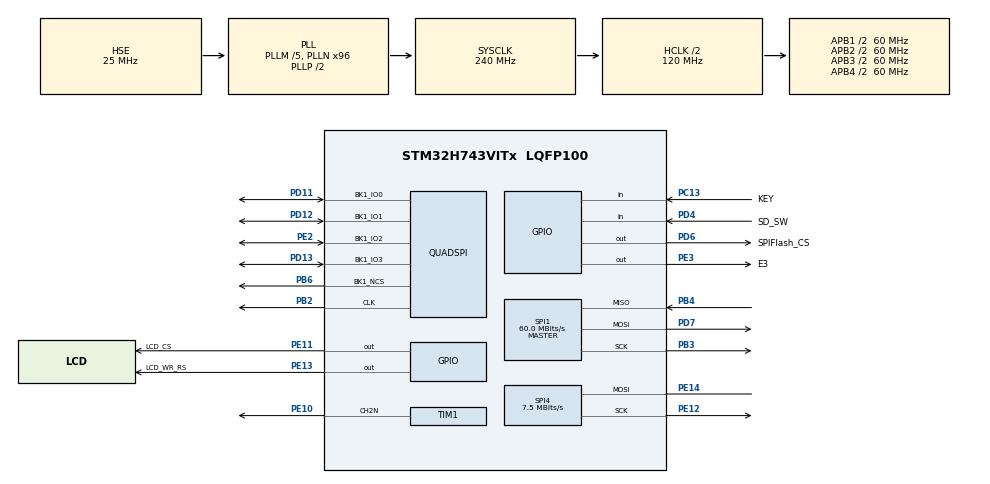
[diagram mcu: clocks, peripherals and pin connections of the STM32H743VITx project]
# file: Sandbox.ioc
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Dma.Request0=SPI4_TX
Dma.Request1=SPI4_RX
Dma.SPI4_RX.1.Direction=DMA_PERIPH_TO_MEMORY
Dma.SPI4_RX.1.EventEnable=DISABLE
Dma.SPI4_RX.1.FIFOMode=DMA_FIFOMODE_DISABLE
Dma.SPI4_RX.1.Instance=DMA1_Stream1
Dma.SPI4_RX.1.MemDataAlignment=DMA_MDATAALIGN_BYTE
Dma.SPI4_RX.1.MemInc=DMA_MINC_ENABLE
Dma.SPI4_RX.1.Mode=DMA_NORMAL
Dma.SPI4_RX.1.PeriphDataAlignment=DMA_PDATAALIGN_BYTE
Dma.SPI4_RX.1.PeriphInc=DMA_PINC_DISABLE
Dma.SPI4_RX.1.Polarity=HAL_DMAMUX_REQ_GEN_RISING
Dma.SPI4_RX.1.Priority=DMA_PRIORITY_LOW
Dma.SPI4_RX.1.RequestNumber=1
Dma.SPI4_RX.1.SignalID=NONE
Dma.SPI4_RX.1.SyncEnable=DISABLE
Dma.SPI4_RX.1.SyncPolarity=HAL_DMAMUX_SYNC_NO_EVENT
Dma.SPI4_RX.1.SyncRequestNumber=1
Dma.SPI4_RX.1.SyncSignalID=NONE
Dma.SPI4_TX.0.Direction=DMA_MEMORY_TO_PERIPH
Dma.SPI4_TX.0.EventEnable=DISABLE
Dma.SPI4_TX.0.FIFOMode=DMA_FIFOMODE_DISABLE
Dma.SPI4_TX.0.Instance=DMA1_Stream0
Dma.SPI4_TX.0.MemDataAlignment=DMA_MDATAALIGN_BYTE
Dma.SPI4_TX.0.MemInc=DMA_MINC_ENABLE
Dma.SPI4_TX.0.Mode=DMA_NORMAL
Dma.SPI4_TX.0.PeriphDataAlignment=DMA_PDATAALIGN_BYTE
Dma.SPI4_TX.0.PeriphInc=DMA_PINC_DISABLE
Dma.SPI4_TX.0.Polarity=HAL_DMAMUX_REQ_GEN_RISING
Dma.SPI4_TX.0.Priority=DMA_PRIORITY_MEDIUM
Dma.SPI4_TX.0.RequestNumber=1
Dma.SPI4_TX.0.SignalID=NONE
Dma.SPI4_TX.0.SyncEnable=DISABLE
Dma.SPI4_TX.0.SyncPolarity=HAL_DMAMUX_SYNC_NO_EVENT
Dma.SPI4_TX.0.SyncRequestNumber=1
Dma.SPI4_TX.0.SyncSignalID=NONE
FATFS._MAX_SS=4096
FATFS._MIN_SS=4096
FATFS._USE_MUTEX=1
FREERTOS.INCLUDE_vTaskCleanUpResources=1
FREERTOS.Tasks01=defaultTask,24,128,StartDefaultTask,Default,NULL,Dynamic,NULL,NULL
FREERTOS.configCHECK_FOR_STACK_OVERFLOW=2
FREERTOS.configENABLE_FPU=1
FREERTOS.configGENERATE_RUN_TIME_STATS=1
FREERTOS.configRECORD_STACK_HIGH_ADDRESS=1
FREERTOS.configTOTAL_HEAP_SIZE=0x10000
FREERTOS.configUSE_NEWLIB_REENTRANT=1
FREERTOS.configUSE_STATS_FORMATTING_FUNCTIONS=1
Mcu.Family=STM32H7
Mcu.Name=STM32H743VITx
Mcu.Package=LQFP100
Mdma.MDMA_Channel0.QUADSPI_TC.0.BlockCount=0
Mdma.MDMA_Channel0.QUADSPI_TC.0.BlockDataLength=0
Mdma.MDMA_Channel0.QUADSPI_TC.0.BufferTransferLength=1
Mdma.MDMA_Channel0.QUADSPI_TC.0.CircularMode=MDMA_LINEAR_LIST
Mdma.MDMA_Channel0.QUADSPI_TC.0.DataAlignment=MDMA_DATAALIGN_PACKENABLE
Mdma.MDMA_Channel0.QUADSPI_TC.0.DestBlockAddressOffset=0
Mdma.MDMA_Channel0.QUADSPI_TC.0.DestBurst=MDMA_DEST_BURST_SINGLE
Mdma.MDMA_Channel0.QUADSPI_TC.0.DestDataSize=MDMA_DEST_DATASIZE_BYTE
Mdma.MDMA_Channel0.QUADSPI_TC.0.DestinationInc=MDMA_DEST_INC_BYTE
Mdma.MDMA_Channel0.QUADSPI_TC.0.DstAddress=0
Mdma.MDMA_Channel0.QUADSPI_TC.0.Endianness=MDMA_LITTLE_ENDIANNESS_PRESERVE
Mdma.MDMA_Channel0.QUADSPI_TC.0.Instance=MDMA_Channel0
Mdma.MDMA_Channel0.QUADSPI_TC.0.MaskAddress=0
Mdma.MDMA_Channel0.QUADSPI_TC.0.MaskData=0
Mdma.MDMA_Channel0.QUADSPI_TC.0.Priority=MDMA_PRIORITY_LOW
Mdma.MDMA_Channel0.QUADSPI_TC.0.Rank=First
Mdma.MDMA_Channel0.QUADSPI_TC.0.SourceBlockAddressOffset=0
Mdma.MDMA_Channel0.QUADSPI_TC.0.SourceBurst=MDMA_SOURCE_BURST_SINGLE
Mdma.MDMA_Channel0.QUADSPI_TC.0.SourceDataSize=MDMA_SRC_DATASIZE_BYTE
Mdma.MDMA_Channel0.QUADSPI_TC.0.SourceInc=MDMA_SRC_INC_BYTE
Mdma.MDMA_Channel0.QUADSPI_TC.0.SrcAddress=0
Mdma.MDMA_Channel0.QUADSPI_TC.0.TransferTriggerMode=MDMA_BUFFER_TRANSFER
Mdma.MDMA_Channel0.Request0=QUADSPI_TC
Mdma.MDMA_Channel0.RequestsNb=1
Mdma.MDMA_Channel1.QUADSPI_FIFO_TH.0.BlockCount=0
Mdma.MDMA_Channel1.QUADSPI_FIFO_TH.0.BlockDataLength=0
Mdma.MDMA_Channel1.QUADSPI_FIFO_TH.0.BufferTransferLength=1
Mdma.MDMA_Channel1.QUADSPI_FIFO_TH.0.CircularMode=MDMA_LINEAR_LIST
Mdma.MDMA_Channel1.QUADSPI_FIFO_TH.0.DataAlignment=MDMA_DATAALIGN_PACKENABLE
Mdma.MDMA_Channel1.QUADSPI_FIFO_TH.0.DestBlockAddressOffset=0
Mdma.MDMA_Channel1.QUADSPI_FIFO_TH.0.DestBurst=MDMA_DEST_BURST_SINGLE
Mdma.MDMA_Channel1.QUADSPI_FIFO_TH.0.DestDataSize=MDMA_DEST_DATASIZE_BYTE
Mdma.MDMA_Channel1.QUADSPI_FIFO_TH.0.DestinationInc=MDMA_DEST_INC_DISABLE
Mdma.MDMA_Channel1.QUADSPI_FIFO_TH.0.DstAddress=0
Mdma.MDMA_Channel1.QUADSPI_FIFO_TH.0.Endianness=MDMA_LITTLE_ENDIANNESS_PRESERVE
Mdma.MDMA_Channel1.QUADSPI_FIFO_TH.0.Instance=MDMA_Channel1
Mdma.MDMA_Channel1.QUADSPI_FIFO_TH.0.MaskAddress=0
Mdma.MDMA_Channel1.QUADSPI_FIFO_TH.0.MaskData=0
Mdma.MDMA_Channel1.QUADSPI_FIFO_TH.0.Priority=MDMA_PRIORITY_LOW
Mdma.MDMA_Channel1.QUADSPI_FIFO_TH.0.Rank=First
Mdma.MDMA_Channel1.QUADSPI_FIFO_TH.0.SourceBlockAddressOffset=0
Mdma.MDMA_Channel1.QUADSPI_FIFO_TH.0.SourceBurst=MDMA_SOURCE_BURST_SINGLE
Mdma.MDMA_Channel1.QUADSPI_FIFO_TH.0.SourceDataSize=MDMA_SRC_DATASIZE_BYTE
Mdma.MDMA_Channel1.QUADSPI_FIFO_TH.0.SourceInc=MDMA_SRC_INC_BYTE
Mdma.MDMA_Channel1.QUADSPI_FIFO_TH.0.SrcAddress=0
Mdma.MDMA_Channel1.QUADSPI_FIFO_TH.0.TransferTriggerMode=MDMA_BUFFER_TRANSFER
Mdma.MDMA_Channel1.Request0=QUADSPI_FIFO_TH
Mdma.MDMA_Channel1.RequestsNb=1
Mdma.RequestSet0=MDMA_Channel0
Mdma.RequestSet1=MDMA_Channel1
Mdma.RequestSetsNb=2
NVIC.DMA1_Stream0_IRQn=true\:5\:0\:false\:false\:true\:true\:false\:true\:true
NVIC.DMA1_Stream1_IRQn=true\:5\:0\:false\:false\:true\:true\:false\:true\:true
NVIC.MDMA_IRQn=true\:5\:0\:false\:false\:true\:true\:false\:true\:true
NVIC.PriorityGroup=NVIC_PRIORITYGROUP_4
NVIC.QUADSPI_IRQn=true\:5\:0\:false\:false\:true\:true\:true\:true\:true
NVIC.SPI4_IRQn=true\:5\:0\:false\:false\:true\:true\:false\:true\:true
PA13\ (JTMS/SWDIO).Mode=Serial_Wire
PA13\ (JTMS/SWDIO).Signal=DEBUG_JTMS-SWDIO
PA14\ (JTCK/SWCLK).Mode=Serial_Wire
PA14\ (JTCK/SWCLK).Signal=DEBUG_JTCK-SWCLK
PB2.GPIO_Speed=GPIO_SPEED_FREQ_VERY_HIGH
PB2.Mode=Single Bank 1
PB2.Signal=QUADSPI_CLK
PB3\ (JTDO/TRACESWO).GPIO_Speed=GPIO_SPEED_FREQ_HIGH
PB3\ (JTDO/TRACESWO).Mode=Full_Duplex_Master
PB3\ (JTDO/TRACESWO).Signal=SPI1_SCK
PB4\ (NJTRST).GPIO_Speed=GPIO_SPEED_FREQ_HIGH
PB4\ (NJTRST).Mode=Full_Duplex_Master
PB4\ (NJTRST).Signal=SPI1_MISO
PB6.GPIO_Speed=GPIO_SPEED_FREQ_VERY_HIGH
PB6.Mode=Single Bank 1
PB6.Signal=QUADSPI_BK1_NCS
PC13.GPIO_Label=KEY
PC13.GPIO_PuPd=GPIO_PULLDOWN
PC13.Signal=GPIO_Input
PC14-OSC32_IN\ (OSC32_IN).Mode=LSE-External-Oscillator
PC14-OSC32_IN\ (OSC32_IN).Signal=RCC_OSC32_IN
PC15-OSC32_OUT\ (OSC32_OUT).Mode=LSE-External-Oscillator
PC15-OSC32_OUT\ (OSC32_OUT).Signal=RCC_OSC32_OUT
PD11.GPIO_Speed=GPIO_SPEED_FREQ_VERY_HIGH
PD11.Mode=Single Bank 1
PD11.Signal=QUADSPI_BK1_IO0
PD12.GPIO_Speed=GPIO_SPEED_FREQ_VERY_HIGH
PD12.Mode=Single Bank 1
PD12.Signal=QUADSPI_BK1_IO1
PD13.GPIO_Speed=GPIO_SPEED_FREQ_VERY_HIGH
PD13.Mode=Single Bank 1
PD13.Signal=QUADSPI_BK1_IO3
PD4.GPIO_Label=SD_SW
PD4.GPIO_PuPd=GPIO_PULLUP
PD4.Signal=GPIO_Input
PD6.GPIO_Label=SPIFlash_CS
PD6.GPIO_Speed=GPIO_SPEED_FREQ_VERY_HIGH
PD6.PinState=GPIO_PIN_SET
PD6.Signal=GPIO_Output
PD7.GPIO_Speed=GPIO_SPEED_FREQ_HIGH
PD7.Mode=Full_Duplex_Master
PD7.Signal=SPI1_MOSI
PE10.Mode=PWM Generation2 CH2N
PE10.Signal=TIM1_CH2N
PE11.GPIO_Label=LCD_CS
PE11.GPIO_Speed=GPIO_SPEED_FREQ_VERY_HIGH
PE11.PinState=GPIO_PIN_SET
PE11.Signal=GPIO_Output
PE12.GPIO_Speed=GPIO_SPEED_FREQ_HIGH
PE12.Mode=Simplex_Bidirectional_Master
PE12.Signal=SPI4_SCK
PE13.GPIO_Label=LCD_WR_RS
PE13.GPIO_Speed=GPIO_SPEED_FREQ_VERY_HIGH
PE13.PinState=GPIO_PIN_SET
PE13.Signal=GPIO_Output
PE14.GPIO_Speed=GPIO_SPEED_FREQ_HIGH
PE14.Mode=Simplex_Bidirectional_Master
PE14.Signal=SPI4_MOSI
PE2.GPIO_Speed=GPIO_SPEED_FREQ_VERY_HIGH
PE2.Mode=Single Bank 1
PE2.Signal=QUADSPI_BK1_IO2
PE3.GPIO_Label=E3
PE3.PinState=GPIO_PIN_RESET
PE3.Signal=GPIO_Output
PH0-OSC_IN\ (PH0).Mode=HSE-External-Oscillator
PH0-OSC_IN\ (PH0).Signal=RCC_OSC_IN
PH1-OSC_OUT\ (PH1).Mode=HSE-External-Oscillator
PH1-OSC_OUT\ (PH1).Signal=RCC_OSC_OUT
ProjectManager.HeapSize=0x400
ProjectManager.StackSize=0x400
ProjectManager.TargetToolchain=Makefile
QUADSPI.ChipSelectHighTime=QSPI_CS_HIGH_TIME_3_CYCLE
QUADSPI.ClockMode=QSPI_CLOCK_MODE_3
QUADSPI.ClockPrescaler=2
QUADSPI.FifoThreshold=1
QUADSPI.FlashSize=24
QUADSPI.SampleShifting=QSPI_SAMPLE_SHIFTING_HALFCYCLE
RCC.ADCFreq_Value=50390625
RCC.APB1Freq_Value=60000000
RCC.APB2Freq_Value=60000000
RCC.APB3Freq_Value=60000000
RCC.APB4Freq_Value=60000000
RCC.CortexFreq_Value=240000000
RCC.D1PPRE=RCC_APB3_DIV2
RCC.D2PPRE1=RCC_APB1_DIV2
RCC.D2PPRE2=RCC_APB2_DIV2
RCC.D3PPRE=RCC_APB4_DIV2
RCC.DIVM1=5
RCC.DIVM3=10
RCC.DIVN1=96
RCC.DIVN3=96
RCC.DIVP3=5
RCC.DIVQ1=4
RCC.DIVQ2=1
RCC.DIVQ3=5
RCC.HCLKFreq_Value=120000000
RCC.HPRE=RCC_HCLK_DIV2
RCC.HSE_VALUE=25000000
RCC.PLL2FRACN=0
RCC.PLL3FRACN=0
RCC.PLLFRACN=0
RCC.PLLSourceVirtual=RCC_PLLSOURCE_HSE
RCC.PWR_Regulator_Voltage_Scale=PWR_REGULATOR_VOLTAGE_SCALE0
RCC.RTCClockSelection=RCC_RTCCLKSOURCE_LSE
RCC.SYSCLKFreq_VALUE=240000000
RCC.SYSCLKSource=RCC_SYSCLKSOURCE_PLLCLK
RCC.USBFreq_Value=120000000
RTC.Hours=12
RTC.Month=RTC_MONTH_JUNE
RTC.Year=20
SPI1.BaudRatePrescaler=SPI_BAUDRATEPRESCALER_2
SPI1.CalculateBaudRate=60.0 MBits/s
SPI1.DataSize=SPI_DATASIZE_8BIT
SPI1.Direction=SPI_DIRECTION_2LINES
SPI1.Mode=SPI_MODE_MASTER
SPI1.VirtualType=VM_MASTER
SPI4.BaudRatePrescaler=SPI_BAUDRATEPRESCALER_8
SPI4.CalculateBaudRate=7.5 MBits/s
SPI4.DataSize=SPI_DATASIZE_8BIT
SPI4.Direction=SPI_DIRECTION_1LINE
SPI4.Mode=SPI_MODE_MASTER
SPI4.VirtualType=VM_MASTER
TIM1.Channel-PWM\ Generation2\ CH2N=TIM_CHANNEL_2
TIM1.OCNPolarity_2=TIM_OCNPOLARITY_LOW
TIM1.Period=1000-1
TIM1.Prescaler=12-1
VP_FATFS_VS_Generic.Mode=User_defined
VP_FREERTOS_VS_CMSIS_V2.Mode=CMSIS_V2
VP_RTC_VS_RTC_Activate.Mode=RTC_Enabled
VP_RTC_VS_RTC_Calendar.Mode=RTC_Calendar
board=custom

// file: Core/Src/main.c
/* USER CODE BEGIN Header */
/**
  ******************************************************************************
  * @file           : main.c
  * @brief          : Main program body
  ******************************************************************************
  * @attention
  *
  * Copyright (c) 2024 STMicroelectronics.
  * All rights reserved.
  *
  * This software is licensed under terms that can be found in the LICENSE file
  * in the root directory of this software component.
  * If no LICENSE file comes with this software, it is provided AS-IS.
  *
  ******************************************************************************
  */
/* USER CODE END Header */
#include "main.h"
#include "cmsis_os.h"
#include "dma.h"
#include "fatfs.h"
#include "mdma.h"
#include "quadspi.h"
#include "rtc.h"
#include "spi.h"
#include "tim.h"
#include "gpio.h"

/* USER CODE BEGIN Includes */
#include <string.h>
#include "FreeRTOS.h"
#include "InitTasks.h"
#include "semphr.h"
#include "w25qxx_qspi.h"
#include "w25qxx.h"
#include "w25q_mem.h"
/* USER CODE END Includes */

/* USER CODE BEGIN PV */
xSemaphoreHandle lcd_tx_end_sem;

/* USER CODE END PV */

void SystemClock_Config(void);
void MX_FREERTOS_Init(void);

/* USER CODE BEGIN 0 */

void HAL_SPI_TxCpltCallback(SPI_HandleTypeDef *hspi)
{
  if(hspi == &hspi4)
  {
    xSemaphoreGiveFromISR(lcd_tx_end_sem, NULL);
  }
}

/* USER CODE END 0 */

int main(void)
{
  /* USER CODE BEGIN 1 */
  lcd_tx_end_sem = xSemaphoreCreateBinary();
  /* USER CODE END 1 */

  /* MCU Configuration--------------------------------------------------------*/

  /* Reset of all peripherals, Initializes the Flash interface and the Systick. */
  HAL_Init();

  /* Configure the system clock */
  SystemClock_Config();

  /* Initialize all configured peripherals */
  MX_GPIO_Init();
  MX_MDMA_Init();
  MX_DMA_Init();
  MX_QUADSPI_Init();
  MX_RTC_Init();
  MX_SPI4_Init();
  MX_SPI1_Init();
  MX_TIM1_Init();
  MX_FATFS_Init();
  /* USER CODE BEGIN 2 */

  // QSPI test code.
  // const char* string2 = "Next page test";
  // const char* string1 = "page test";
  // uint8_t readbuffer[100];
  // w25qxx_Init();
  // W25qxx_Write((uint8_t*)string1, 0, strlen(string1));
  // W25qxx_Write((uint8_t*)string2, 4096, strlen(string2));
  // W25qxx_Read(readbuffer, 0, 100);
  // W25qxx_Read(readbuffer, 4096, 100);

  // __NOP();

  // volatile W25Q_STATE state = W25Q_Init();		 // init the chip
	// state = W25Q_EraseSector(0); // erase 4K sector - required before recording

	// // make test data
	// u8_t byte = 0x65;
	// u8_t byte_read = 0;
	// u8_t in_page_shift = 0;
	// u8_t page_number = 0;
	// // write data
	// state = W25Q_ProgramByte(byte, in_page_shift, page_number);
	// // read data
	// state = W25Q_ReadByte(&byte_read, in_page_shift, page_number);

	// // make example structure
	// struct STR {
	// 	u8_t abc;
	// 	u32_t bca;
	// 	char str[4];
	// 	fl_t gg;
	// } _str, _str2;

	// // fill instance
	// _str.abc = 0x20;
	// _str.bca = 0x3F3F4A;
	// _str.str[0] = 'a';
	// _str.str[1] = 'b';
	// _str.str[2] = 'c';
	// _str.str[3] = '\0';
	// _str.gg = 0.658;

	// u16_t len = sizeof(_str);	// length of structure in bytes

	// // program structure
	// state = W25Q_ProgramData((u8_t*) &_str, len, in_page_shift, page_number);
	// // read structure to another instance
	// state = W25Q_ReadData((u8_t*) &_str2, len, in_page_shift, page_number);

	// state = W25Q_Sleep();	// go to sleep

	// __NOP();	// place for breakpoint

  // SPI flash test code.

  // W25Qx_Init();
  // W25Qx_Erase_Block(0);
  // W25Qx_Write((uint8_t*)string, 0, strlen(string));
  // W25Qx_Read(readbuffer, 0, 100);

  // __NOP();

  InitTasks();
  vTaskStartScheduler();

  /* USER CODE END 2 */

  /* Init scheduler */
  osKernelInitialize();

  /* Call init function for freertos objects (in freertos.c) */
  MX_FREERTOS_Init();

  /* Start scheduler */
  osKernelStart();

  /* We should never get here as control is now taken by the scheduler */
  /* Infinite loop */
  while (1)
  {

  }
}

void SystemClock_Config(void)
{
  RCC_OscInitTypeDef RCC_OscInitStruct = {0};
  RCC_ClkInitTypeDef RCC_ClkInitStruct = {0};

  /** Supply configuration update enable
  */
  HAL_PWREx_ConfigSupply(PWR_LDO_SUPPLY);

  /** Configure the main internal regulator output voltage
  */
  __HAL_PWR_VOLTAGESCALING_CONFIG(PWR_REGULATOR_VOLTAGE_SCALE1);

  while(!__HAL_PWR_GET_FLAG(PWR_FLAG_VOSRDY)) {}

  __HAL_RCC_SYSCFG_CLK_ENABLE();
  __HAL_PWR_VOLTAGESCALING_CONFIG(PWR_REGULATOR_VOLTAGE_SCALE0);

  while(!__HAL_PWR_GET_FLAG(PWR_FLAG_VOSRDY)) {}

  /** Configure LSE Drive Capability
  */
  HAL_PWR_EnableBkUpAccess();
  __HAL_RCC_LSEDRIVE_CONFIG(RCC_LSEDRIVE_LOW);

  /** Initializes the RCC Oscillators according to the specified parameters
  * in the RCC_OscInitTypeDef structure.
  */
  RCC_OscInitStruct.OscillatorType = RCC_OSCILLATORTYPE_HSE|RCC_OSCILLATORTYPE_LSE;
  RCC_OscInitStruct.HSEState = RCC_HSE_ON;
  RCC_OscInitStruct.LSEState = RCC_LSE_ON;
  RCC_OscInitStruct.PLL.PLLState = RCC_PLL_ON;
  RCC_OscInitStruct.PLL.PLLSource = RCC_PLLSOURCE_HSE;
  RCC_OscInitStruct.PLL.PLLM = 5;
  RCC_OscInitStruct.PLL.PLLN = 96;
  RCC_OscInitStruct.PLL.PLLP = 2;
  RCC_OscInitStruct.PLL.PLLQ = 4;
  RCC_OscInitStruct.PLL.PLLR = 2;
  RCC_OscInitStruct.PLL.PLLRGE = RCC_PLL1VCIRANGE_2;
  RCC_OscInitStruct.PLL.PLLVCOSEL = RCC_PLL1VCOWIDE;
  RCC_OscInitStruct.PLL.PLLFRACN = 0;
  if (HAL_RCC_OscConfig(&RCC_OscInitStruct) != HAL_OK)
  {
    Error_Handler();
  }

  /** Initializes the CPU, AHB and APB buses clocks
  */
  RCC_ClkInitStruct.ClockType = RCC_CLOCKTYPE_HCLK|RCC_CLOCKTYPE_SYSCLK
                              |RCC_CLOCKTYPE_PCLK1|RCC_CLOCKTYPE_PCLK2
                              |RCC_CLOCKTYPE_D3PCLK1|RCC_CLOCKTYPE_D1PCLK1;
  RCC_ClkInitStruct.SYSCLKSource = RCC_SYSCLKSOURCE_PLLCLK;
  RCC_ClkInitStruct.SYSCLKDivider = RCC_SYSCLK_DIV1;
  RCC_ClkInitStruct.AHBCLKDivider = RCC_HCLK_DIV2;
  RCC_ClkInitStruct.APB3CLKDivider = RCC_APB3_DIV2;
  RCC_ClkInitStruct.APB1CLKDivider = RCC_APB1_DIV2;
  RCC_ClkInitStruct.APB2CLKDivider = RCC_APB2_DIV2;
  RCC_ClkInitStruct.APB4CLKDivider = RCC_APB4_DIV2;

  if (HAL_RCC_ClockConfig(&RCC_ClkInitStruct, FLASH_LATENCY_1) != HAL_OK)
  {
    Error_Handler();
  }
}

/* USER CODE BEGIN 4 */

void vApplicationStackOverflowHook( TaskHandle_t xTask, char *pcTaskName )
{
  Error_Handler();
}

/* USER CODE END 4 */

void Error_Handler(void)
{
  __disable_irq();
  while (1)
  {
  }
}

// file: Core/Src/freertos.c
/* USER CODE BEGIN Header */
/**
  ******************************************************************************
  * File Name          : freertos.c
  * Description        : Code for freertos applications
  ******************************************************************************
  * @attention
  *
  * Copyright (c) 2024 STMicroelectronics.
  * All rights reserved.
  *
  * This software is licensed under terms that can be found in the LICENSE file
  * in the root directory of this software component.
  * If no LICENSE file comes with this software, it is provided AS-IS.
  *
  ******************************************************************************
  */
/* USER CODE END Header */

#include "FreeRTOS.h"
#include "task.h"
#include "main.h"
#include "cmsis_os.h"

/* Definitions for defaultTask */
osThreadId_t defaultTaskHandle;
const osThreadAttr_t defaultTask_attributes = {
  .name = "defaultTask",
  .stack_size = 128 * 4,
  .priority = (osPriority_t) osPriorityNormal,
};

void StartDefaultTask(void *argument);

void MX_FREERTOS_Init(void); /* (MISRA C 2004 rule 8.1) */

/* Hook prototypes */
void configureTimerForRunTimeStats(void);
unsigned long getRunTimeCounterValue(void);
void vApplicationStackOverflowHook(xTaskHandle xTask, signed char *pcTaskName);

/* USER CODE BEGIN 1 */
/* Functions needed when configGENERATE_RUN_TIME_STATS is on */
__weak void configureTimerForRunTimeStats(void)
{

}

__weak unsigned long getRunTimeCounterValue(void)
{
return 0;
}
/* USER CODE END 1 */

/* USER CODE BEGIN 4 */
// void vApplicationStackOverflowHook(xTaskHandle xTask, signed char *pcTaskName)
// {
//    /* Run time stack overflow checking is performed if
//    configCHECK_FOR_STACK_OVERFLOW is defined to 1 or 2. This hook function is
//    called if a stack overflow is detected. */
// }
/* USER CODE END 4 */

void MX_FREERTOS_Init(void) {

  /* Create the thread(s) */
  /* creation of defaultTask */
  defaultTaskHandle = osThreadNew(StartDefaultTask, NULL, &defaultTask_attributes);

}

void StartDefaultTask(void *argument)
{
  for(;;)
  {
    osDelay(1);
  }
}
